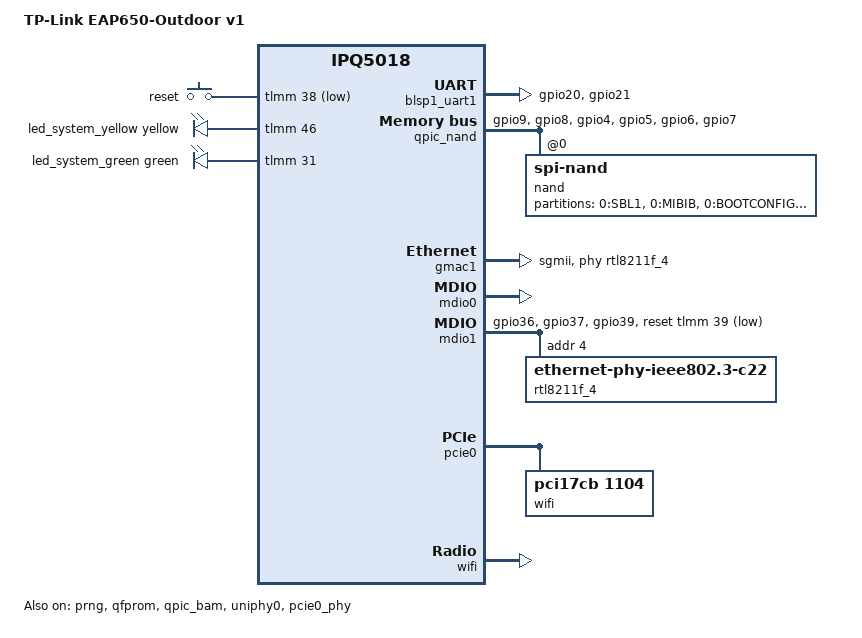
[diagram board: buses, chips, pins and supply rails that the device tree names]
// SPDX-License-Identifier: GPL-2.0-or-later OR MIT

/dts-v1/;

#include "ipq5018.dtsi"
#include "ipq5018-ess.dtsi"

#include <dt-bindings/gpio/gpio.h>
#include <dt-bindings/input/input.h>
#include <dt-bindings/leds/common.h>

/ {
	model = "TP-Link EAP650-Outdoor v1";
	compatible = "tplink,eap650-outdoor-v1", "qcom,ipq5018";

	aliases {
		led-boot = &led_system_green;
		led-failsafe = &led_system_yellow;
		led-running = &led_system_green;
		led-upgrade = &led_system_yellow;

		serial0 = &blsp1_uart1;
	};

	chosen {
		stdout-path = "serial0:115200n8";
		bootargs-append = " ubi.block=0,rootfs root=/dev/ubiblock0_1 swiotlb=1 coherent_pool=2M";
	};

	keys {
		compatible = "gpio-keys";
		pinctrl-0 = <&button_pins>;
		pinctrl-names = "default";

		reset {
			label = "reset";
			gpios = <&tlmm 38 GPIO_ACTIVE_LOW>;
			linux,code = <KEY_RESTART>;
		};
	};

	leds {
		compatible = "gpio-leds";

		led_system_yellow: led-0 {
			function = LED_FUNCTION_STATUS;
			color = <LED_COLOR_ID_YELLOW>;
			gpios = <&tlmm 46 GPIO_ACTIVE_HIGH>;
		};

		led_system_green: led-1 {
			function = LED_FUNCTION_STATUS;
			color = <LED_COLOR_ID_GREEN>;
			gpios = <&tlmm 31 GPIO_ACTIVE_HIGH>;
		};
	};
};

&tlmm {
	button_pins: button-state {
		button-pins {
			pins = "gpio38";
			function = "gpio";
			drive-strength = <8>;
			bias-pull-up;
		};
	};

	serial_0_pins: uart0-state {
		pins = "gpio20", "gpio21";
		function = "blsp0_uart0";
		drive-strength = <8>;
		bias-disable;
	};

	mdio1_pins: mdio-state {
		mdc-pins {
			pins = "gpio36";
			function = "mdc";
			drive-strength = <8>;
			bias-pull-up;
		};

		mdio-pins {
			pins = "gpio37";
			function = "mdio";
			drive-strength = <8>;
			bias-pull-up;
		};
	};

	qpic_pins: qpic-state {
		clock-pins {
			pins = "gpio9";
			function = "qspi_clk";
			drive-strength = <8>;
			bias-disable;
		};

		cs-pins {
			pins = "gpio8";
			function = "qspi_cs";
			drive-strength = <8>;
			bias-disable;
		};

		data-pins {
			pins = "gpio4", "gpio5", "gpio6", "gpio7";
			function = "qspi_data";
			drive-strength = <8>;
			bias-disable;
		};
	};

	switch_reset_pins: switch-reset-state {
		pins = "gpio39";
		function = "gpio";
		drive-strength = <8>;
		bias-pull-down;
	};
};

&sleep_clk {
	clock-frequency = <32000>;
};

&xo_board_clk {
	clock-div = <4>;
	clock-mult = <1>;
};

&blsp1_uart1 {
	status = "okay";
	pinctrl-0 = <&serial_0_pins>;
	pinctrl-names = "default";
};

&prng {
	status = "okay";
};

&qfprom {
	status = "okay";
};

&qpic_bam {
	status = "okay";
};

&qpic_nand {
	status = "okay";

	pinctrl-0 = <&qpic_pins>;
	pinctrl-names = "default";

	// GigaDevice F50D1G41LB-83YIG2M
	nand@0 {
		compatible = "spi-nand";
		reg = <0>;
		nand-ecc-engine = <&qpic_nand>;

		nand-ecc-strength = <4>;
		nand-ecc-step-size = <512>;
		nand-bus-width = <8>;

		partitions {
			compatible = "fixed-partitions";
			#address-cells = <1>;
			#size-cells = <1>;

			partition@0 {
				label = "0:SBL1";
				reg = <0x0 0x80000>;
				read-only;
			};

			partition@80000 {
				label = "0:MIBIB";
				reg = <0x80000 0x80000>;
				read-only;
			};

			partition@100000 {
				label = "0:BOOTCONFIG";
				reg = <0x100000 0x100000>;
				read-only;
			};

			partition@200000 {
				label = "0:BOOTCONFIG1";
				reg = <0x200000 0x100000>;
				read-only;
			};

			partition@300000 {
				label = "0:QSEE";
				reg = <0x300000 0x200000>;
				read-only;
			};

			partition@500000 {
				label = "0:DEVCFG";
				reg = <0x500000 0x40000>;
				read-only;
			};

			partition@540000 {
				label = "0:CDT";
				reg = <0x540000 0x80000>;
				read-only;
			};

			partition@5c0000 {
				label = "0:APPSBLENV";
				reg = <0x5c0000 0x440000>;
			};

			partition@a00000 {
				label = "0:APPSBL";
				reg = <0xa00000 0x300000>;
				read-only;
			};

			partition@d00000 {
				label = "0:APPSBL_1";
				reg = <0xd00000 0x300000>;
				read-only;
			};

			partition@1000000 {
				label = "oops";
				reg = <0x1000000 0x100000>;
				read-only;
			};

			partition@1100000 {
				label = "rootfs";
				reg = <0x1100000 0x2380000>;
			};

			partition@3480000 {
				label = "rootfs_1";
				reg = <0x3480000 0x2380000>;
			};

			partition@5800000 {
				label = "factory_data";
				reg = <0x5800000 0x800000>;
				read-only;
			};

			partition@6000000 {
				label = "runtime_data";
				reg = <0x6000000 0xc00000>;
				read-only;
			};

			partition@6c00000 {
				label = "backup_data";
				reg = <0x6c00000 0x800000>;
				read-only;
			};

			partition@7400000 {
				label = "runtime_back";
				reg = <0x7400000 0x600000>;
				read-only;
			};
		};
	};
};

&uniphy0 {
	status = "okay";

	assigned-clocks = <&uniphy0 UNIPHY_CLK_REF>;
	assigned-clock-rates = <UNIPHY_REFCLK_25MHZ>;
};

&gmac1 {
	status = "okay";

	label = "lan";
	phy-handle = <&rtl8211f_4>;
	phy-mode = "sgmii";
};

&mdio0 {
	status = "okay";
};

&mdio1 {
	status = "okay";

	pinctrl-0 = <&mdio1_pins>, <&switch_reset_pins>;
	pinctrl-names = "default";
	reset-gpios = <&tlmm 39 GPIO_ACTIVE_LOW>;

	// RTL8211 Phy0 -> LAN
	rtl8211f_4: ethernet-phy@4 {
		reg = <4>;
		compatible = "ethernet-phy-ieee802.3-c22";
	};
};

&pcie0_phy {
	status = "okay";
};

&pcie0 {
	status = "okay";

	perst-gpios = <&tlmm 15 GPIO_ACTIVE_LOW>;

	pcie@0 {
		wifi@0,0 {
			status = "okay";

			// QCN6024: ath11k lacks DT compatible for PCI cards
			compatible = "pci17cb,1104";
			reg = <0x00010000 0 0 0 0>;

			qcom,ath11k-calibration-variant = "TP-Link-EAP650-Outdoor-v1";
			qcom,ath11k-fw-memory-mode = <1>;
		};
	};
};

&q6v5_wcss {
	firmware-name = "ath11k/IPQ5018/hw1.0/q6_fw.mdt",
			"ath11k/IPQ5018/hw1.0/m3_fw.mdt";
};

&wifi {
	status = "okay";

	qcom,rproc = <&q6v5_wcss>;
	qcom,ath11k-calibration-variant = "TP-Link-EAP650-Outdoor-v1";
	qcom,ath11k-fw-memory-mode = <1>;
};
